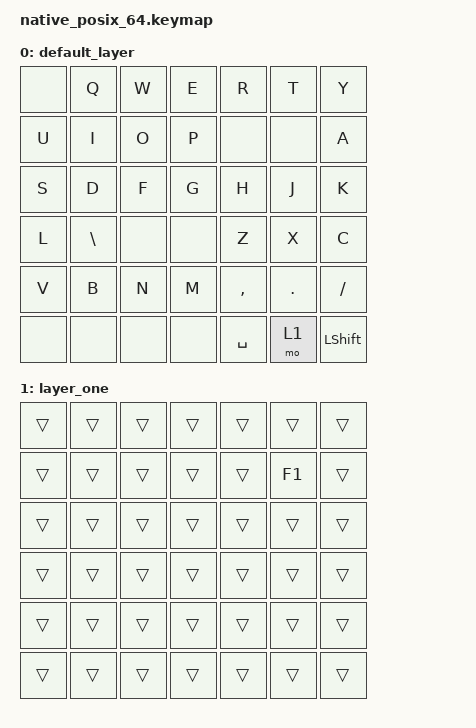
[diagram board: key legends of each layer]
#include <dt-bindings/zmk/keys.h>
#include <behaviors.dtsi>
#include <dt-bindings/zmk/kscan_mock.h>

/ {
    behaviors {
        lpar_fixed: lpar_fixed {
            compatible = "zmk,behavior-mod-morph";
            #binding-cells = <0>;
            bindings = <&kp LPAR>, <&kp LPAR>;
            mods = <(MOD_LSFT|MOD_RSFT)>;
        };
        rpar_fixed: rpar_fixed {
            compatible = "zmk,behavior-mod-morph";
            #binding-cells = <0>;
            bindings = <&kp RPAR>, <&kp RPAR>;
            mods = <(MOD_LSFT|MOD_RSFT)>;
        };
        lbkt_fixed: lbkt_fixed {
            compatible = "zmk,behavior-mod-morph";
            #binding-cells = <0>;
            bindings = <&kp LBKT>, <&kp LBKT>;
            mods = <(MOD_LSFT|MOD_RSFT)>;
        };
        rbkt_fixed: rbkt_fixed {
            compatible = "zmk,behavior-mod-morph";
            #binding-cells = <0>;
            bindings = <&kp RBKT>, <&kp RBKT>;
            mods = <(MOD_LSFT|MOD_RSFT)>;
        };
        lbrc_fixed: lbrc_fixed {
            compatible = "zmk,behavior-mod-morph";
            #binding-cells = <0>;
            bindings = <&kp LBRC>, <&kp LBRC>;
            mods = <(MOD_LSFT|MOD_RSFT)>;
        };
        rbrc_fixed: rbrc_fixed {
            compatible = "zmk,behavior-mod-morph";
            #binding-cells = <0>;
            bindings = <&kp RBRC>, <&kp RBRC>;
            mods = <(MOD_LSFT|MOD_RSFT)>;
        };
        minus_fixed: minus_fixed {
            compatible = "zmk,behavior-mod-morph";
            #binding-cells = <0>;
            bindings = <&kp MINUS>, <&kp MINUS>;
            mods = <(MOD_LSFT|MOD_RSFT)>;
        };
        equal_fixed: equal_fixed {
            compatible = "zmk,behavior-mod-morph";
            #binding-cells = <0>;
            bindings = <&kp EQUAL>, <&kp EQUAL>;
            mods = <(MOD_LSFT|MOD_RSFT)>;
        };
        under_fixed: under_fixed {
            compatible = "zmk,behavior-mod-morph";
            #binding-cells = <0>;
            bindings = <&kp UNDER>, <&kp UNDER>;
            mods = <(MOD_LSFT|MOD_RSFT)>;
        };
        plus_fixed: plus_fixed {
            compatible = "zmk,behavior-mod-morph";
            #binding-cells = <0>;
            bindings = <&kp PLUS>, <&kp PLUS>;
            mods = <(MOD_LSFT|MOD_RSFT)>;
        };
        grave_fixed: grave_fixed {
            compatible = "zmk,behavior-mod-morph";
            #binding-cells = <0>;
            bindings = <&kp GRAVE>, <&kp GRAVE>;
            mods = <(MOD_LSFT|MOD_RSFT)>;
        };
        tilde_fixed: tilde_fixed {
            compatible = "zmk,behavior-mod-morph";
            #binding-cells = <0>;
            bindings = <&kp TILDE>, <&kp TILDE>;
            mods = <(MOD_LSFT|MOD_RSFT)>;
        };
        dqt_fixed: dqt_fixed {
            compatible = "zmk,behavior-mod-morph";
            #binding-cells = <0>;
            bindings = <&kp DQT>, <&kp DQT>;
            mods = <(MOD_LSFT|MOD_RSFT)>;
        };
        sqt_fixed: sqt_fixed {
            compatible = "zmk,behavior-mod-morph";
            #binding-cells = <0>;
            bindings = <&kp SQT>, <&kp SQT>;
            mods = <(MOD_LSFT|MOD_RSFT)>;
        };
        colon_fixed: colon_fixed {
            compatible = "zmk,behavior-mod-morph";
            #binding-cells = <0>;
            bindings = <&kp COLON>, <&kp COLON>;
            mods = <(MOD_LSFT|MOD_RSFT)>;
        };
        semi_fixed: semi_fixed {
            compatible = "zmk,behavior-mod-morph";
            #binding-cells = <0>;
            bindings = <&kp SEMI>, <&kp SEMI>;
            mods = <(MOD_LSFT|MOD_RSFT)>;
        };
    };
    combos {
        compatible = "zmk,combos";
        combo_left_paren {
            timeout-ms = <21>;
            key-positions = <27 28>;
            bindings = <&lpar_fixed>;
        };
        combo_right_paren {
            timeout-ms = <21>;
            key-positions = <31 32>;
            bindings = <&rpar_fixed>;
        };
        combo_left_bracket {
            timeout-ms = <21>;
            key-positions = <15 16>;
            bindings = <&lbkt_fixed>;
        };
        combo_right_bracket {
            timeout-ms = <21>;
            key-positions = <19 20>;
            bindings = <&rbkt_fixed>;
        };
        combo_left_brace {
            timeout-ms = <21>;
            key-positions = <3 4>;
            bindings = <&lbrc_fixed>;
        };
        combo_right_brace {
            timeout-ms = <21>;
            key-positions = <7 8>;
            bindings = <&rbrc_fixed>;
        };
        combo_minus {
            timeout-ms = <21>;
            key-positions = <26 27>;
            bindings = <&minus_fixed>;
        };
        combo_equal {
            timeout-ms = <21>;
            key-positions = <32 33>;
            bindings = <&equal_fixed>;
        };
        combo_underscore {
            timeout-ms = <21>;
            key-positions = <2 3>;
            bindings = <&under_fixed>;
        };
        combo_plus {
            timeout-ms = <21>;
            key-positions = <8 9>;
            bindings = <&plus_fixed>;
        };
        combo_grave {
            timeout-ms = <21>;
            key-positions = <13 14>;
            bindings = <&grave_fixed>;
        };
        combo_tilde {
            timeout-ms = <21>;
            key-positions = <21 22>;
            bindings = <&tilde_fixed>;
        };
        combo_double_quote {
            timeout-ms = <21>;
            key-positions = <25 26>;
            bindings = <&dqt_fixed>;
        };
        combo_single_quote {
            timeout-ms = <21>;
            key-positions = <33 34>;
            bindings = <&sqt_fixed>;
        };
        combo_colon {
            timeout-ms = <21>;
            key-positions = <14 15>;
            bindings = <&colon_fixed>;
        };
        combo_semicolon {
            timeout-ms = <21>;
            key-positions = <20 21>;
            bindings = <&semi_fixed>;
        };
    };
    keymap {
        compatible = "zmk,keymap";
        default_layer {
            bindings = <
                &none &kp Q &kp W &kp E &kp R &kp T &kp Y
                &kp U &kp I &kp O &kp P &none &none &kp A
                &kp S &kp D &kp F &kp G &kp H &kp J &kp K
                &kp L &kp BSLH &none &none &kp Z &kp X &kp C
                &kp V &kp B &kp N &kp M &kp COMMA &kp DOT &kp FSLH
                &none &none &none &none &kp SPACE &mo 1 &kp LSHFT
            >;
        };
        layer_one {
            bindings = <
                &trans &trans &trans &trans &trans &trans &trans
                &trans &trans &trans &trans &trans &kp F1 &trans
                &trans &trans &trans &trans &trans &trans &trans
                &trans &trans &trans &trans &trans &trans &trans
                &trans &trans &trans &trans &trans &trans &trans
                &trans &trans &trans &trans &trans &trans &trans
            >;
        };
    };
};

&kscan {
    rows = <6>;
    columns = <7>;
    events = <
        ZMK_MOCK_PRESS(5,5,10) ZMK_MOCK_PRESS(1,5,10)
        ZMK_MOCK_RELEASE(1,5,10) ZMK_MOCK_RELEASE(5,5,10)

        // Every symbol combo gives the same symbol with Shift held.
        ZMK_MOCK_PRESS(5,6,40) ZMK_MOCK_PRESS(3,6,10) ZMK_MOCK_PRESS(4,0,10)
        ZMK_MOCK_RELEASE(4,0,10) ZMK_MOCK_RELEASE(3,6,10) ZMK_MOCK_RELEASE(5,6,300)
        ZMK_MOCK_PRESS(5,6,40) ZMK_MOCK_PRESS(4,3,10) ZMK_MOCK_PRESS(4,4,10)
        ZMK_MOCK_RELEASE(4,4,10) ZMK_MOCK_RELEASE(4,3,10) ZMK_MOCK_RELEASE(5,6,300)
        ZMK_MOCK_PRESS(5,6,40) ZMK_MOCK_PRESS(2,1,10) ZMK_MOCK_PRESS(2,2,10)
        ZMK_MOCK_RELEASE(2,2,10) ZMK_MOCK_RELEASE(2,1,10) ZMK_MOCK_RELEASE(5,6,300)
        ZMK_MOCK_PRESS(5,6,40) ZMK_MOCK_PRESS(2,5,10) ZMK_MOCK_PRESS(2,6,10)
        ZMK_MOCK_RELEASE(2,6,10) ZMK_MOCK_RELEASE(2,5,10) ZMK_MOCK_RELEASE(5,6,300)
        ZMK_MOCK_PRESS(5,6,40) ZMK_MOCK_PRESS(0,3,10) ZMK_MOCK_PRESS(0,4,10)
        ZMK_MOCK_RELEASE(0,4,10) ZMK_MOCK_RELEASE(0,3,10) ZMK_MOCK_RELEASE(5,6,300)
        ZMK_MOCK_PRESS(5,6,40) ZMK_MOCK_PRESS(1,0,10) ZMK_MOCK_PRESS(1,1,10)
        ZMK_MOCK_RELEASE(1,1,10) ZMK_MOCK_RELEASE(1,0,10) ZMK_MOCK_RELEASE(5,6,300)
        ZMK_MOCK_PRESS(5,6,40) ZMK_MOCK_PRESS(1,6,10) ZMK_MOCK_PRESS(2,0,10)
        ZMK_MOCK_RELEASE(2,0,10) ZMK_MOCK_RELEASE(1,6,10) ZMK_MOCK_RELEASE(5,6,300)
        ZMK_MOCK_PRESS(5,6,40) ZMK_MOCK_PRESS(3,0,10) ZMK_MOCK_PRESS(3,1,10)
        ZMK_MOCK_RELEASE(3,1,10) ZMK_MOCK_RELEASE(3,0,10) ZMK_MOCK_RELEASE(5,6,300)
        ZMK_MOCK_PRESS(5,6,40) ZMK_MOCK_PRESS(3,4,10) ZMK_MOCK_PRESS(3,5,10)
        ZMK_MOCK_RELEASE(3,5,10) ZMK_MOCK_RELEASE(3,4,10) ZMK_MOCK_RELEASE(5,6,300)
        ZMK_MOCK_PRESS(5,6,40) ZMK_MOCK_PRESS(4,5,10) ZMK_MOCK_PRESS(4,6,10)
        ZMK_MOCK_RELEASE(4,6,10) ZMK_MOCK_RELEASE(4,5,10) ZMK_MOCK_RELEASE(5,6,300)
        ZMK_MOCK_PRESS(5,6,40) ZMK_MOCK_PRESS(2,0,10) ZMK_MOCK_PRESS(2,1,10)
        ZMK_MOCK_RELEASE(2,1,10) ZMK_MOCK_RELEASE(2,0,10) ZMK_MOCK_RELEASE(5,6,300)
        ZMK_MOCK_PRESS(5,6,40) ZMK_MOCK_PRESS(2,6,10) ZMK_MOCK_PRESS(3,0,10)
        ZMK_MOCK_RELEASE(3,0,10) ZMK_MOCK_RELEASE(2,6,10) ZMK_MOCK_RELEASE(5,6,300)
        ZMK_MOCK_PRESS(5,6,40) ZMK_MOCK_PRESS(0,2,10) ZMK_MOCK_PRESS(0,3,10)
        ZMK_MOCK_RELEASE(0,3,10) ZMK_MOCK_RELEASE(0,2,10) ZMK_MOCK_RELEASE(5,6,300)
        ZMK_MOCK_PRESS(5,6,40) ZMK_MOCK_PRESS(1,1,10) ZMK_MOCK_PRESS(1,2,10)
        ZMK_MOCK_RELEASE(1,2,10) ZMK_MOCK_RELEASE(1,1,10) ZMK_MOCK_RELEASE(5,6,300)
        ZMK_MOCK_PRESS(5,6,40) ZMK_MOCK_PRESS(3,5,10) ZMK_MOCK_PRESS(3,6,10)
        ZMK_MOCK_RELEASE(3,6,10) ZMK_MOCK_RELEASE(3,5,10) ZMK_MOCK_RELEASE(5,6,300)
        ZMK_MOCK_PRESS(5,6,40) ZMK_MOCK_PRESS(4,4,10) ZMK_MOCK_PRESS(4,5,10)
        ZMK_MOCK_RELEASE(4,5,10) ZMK_MOCK_RELEASE(4,4,10) ZMK_MOCK_RELEASE(5,6,300)

        // ...and without Shift, from layer 1.
        ZMK_MOCK_PRESS(5,5,40)
        ZMK_MOCK_PRESS(3,6,10) ZMK_MOCK_PRESS(4,0,10)
        ZMK_MOCK_RELEASE(4,0,10) ZMK_MOCK_RELEASE(3,6,40)
        ZMK_MOCK_PRESS(4,3,10) ZMK_MOCK_PRESS(4,4,10)
        ZMK_MOCK_RELEASE(4,4,10) ZMK_MOCK_RELEASE(4,3,40)
        ZMK_MOCK_PRESS(2,1,10) ZMK_MOCK_PRESS(2,2,10)
        ZMK_MOCK_RELEASE(2,2,10) ZMK_MOCK_RELEASE(2,1,40)
        ZMK_MOCK_PRESS(2,5,10) ZMK_MOCK_PRESS(2,6,10)
        ZMK_MOCK_RELEASE(2,6,10) ZMK_MOCK_RELEASE(2,5,40)
        ZMK_MOCK_PRESS(0,3,10) ZMK_MOCK_PRESS(0,4,10)
        ZMK_MOCK_RELEASE(0,4,10) ZMK_MOCK_RELEASE(0,3,40)
        ZMK_MOCK_PRESS(1,0,10) ZMK_MOCK_PRESS(1,1,10)
        ZMK_MOCK_RELEASE(1,1,10) ZMK_MOCK_RELEASE(1,0,40)
        ZMK_MOCK_PRESS(1,6,10) ZMK_MOCK_PRESS(2,0,10)
        ZMK_MOCK_RELEASE(2,0,10) ZMK_MOCK_RELEASE(1,6,40)
        ZMK_MOCK_PRESS(3,0,10) ZMK_MOCK_PRESS(3,1,10)
        ZMK_MOCK_RELEASE(3,1,10) ZMK_MOCK_RELEASE(3,0,40)
        ZMK_MOCK_PRESS(3,4,10) ZMK_MOCK_PRESS(3,5,10)
        ZMK_MOCK_RELEASE(3,5,10) ZMK_MOCK_RELEASE(3,4,40)
        ZMK_MOCK_PRESS(4,5,10) ZMK_MOCK_PRESS(4,6,10)
        ZMK_MOCK_RELEASE(4,6,10) ZMK_MOCK_RELEASE(4,5,40)
        ZMK_MOCK_PRESS(2,0,10) ZMK_MOCK_PRESS(2,1,10)
        ZMK_MOCK_RELEASE(2,1,10) ZMK_MOCK_RELEASE(2,0,40)
        ZMK_MOCK_PRESS(2,6,10) ZMK_MOCK_PRESS(3,0,10)
        ZMK_MOCK_RELEASE(3,0,10) ZMK_MOCK_RELEASE(2,6,40)
        ZMK_MOCK_PRESS(0,2,10) ZMK_MOCK_PRESS(0,3,10)
        ZMK_MOCK_RELEASE(0,3,10) ZMK_MOCK_RELEASE(0,2,40)
        ZMK_MOCK_PRESS(1,1,10) ZMK_MOCK_PRESS(1,2,10)
        ZMK_MOCK_RELEASE(1,2,10) ZMK_MOCK_RELEASE(1,1,40)
        ZMK_MOCK_PRESS(3,5,10) ZMK_MOCK_PRESS(3,6,10)
        ZMK_MOCK_RELEASE(3,6,10) ZMK_MOCK_RELEASE(3,5,40)
        ZMK_MOCK_PRESS(4,4,10) ZMK_MOCK_PRESS(4,5,10)
        ZMK_MOCK_RELEASE(4,5,10) ZMK_MOCK_RELEASE(4,4,40)
        ZMK_MOCK_RELEASE(5,5,300)

        // 22ms rolls, as in typing "over", "we" and "tion", must stay letters.
        ZMK_MOCK_PRESS(0,3,22) ZMK_MOCK_PRESS(0,4,10)
        ZMK_MOCK_RELEASE(0,3,10) ZMK_MOCK_RELEASE(0,4,300)
        ZMK_MOCK_PRESS(0,2,22) ZMK_MOCK_PRESS(0,3,10)
        ZMK_MOCK_RELEASE(0,2,10) ZMK_MOCK_RELEASE(0,3,300)
        ZMK_MOCK_PRESS(1,1,22) ZMK_MOCK_PRESS(1,2,10)
        ZMK_MOCK_RELEASE(1,1,10) ZMK_MOCK_RELEASE(1,2,300)
    >;
};
